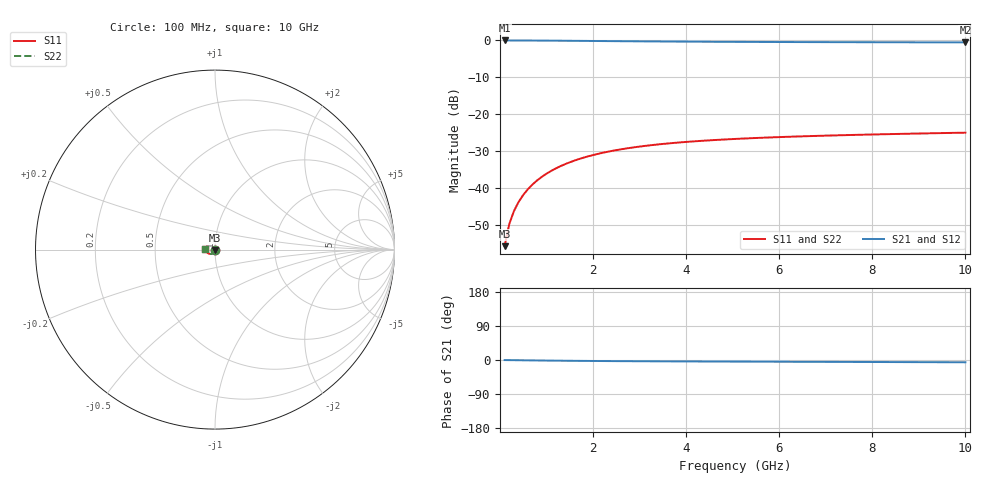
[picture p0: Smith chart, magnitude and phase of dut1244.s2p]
! Touchstone file exported from HFSS 2024.1.0
!  File:  C:/UserFiles/LocalFiles/RDL_TSV_Batchsim/temp_TSV1_1244_1780251668.aedt
!  Generated:  02:27:36 AM Jun  1, 2026
!  Design:  TSV1
!  Project:  temp_TSV1_1244_1780251668
!  Setup:  Setup1
!  Solution:  Sweep
! Variables:
!  dtsv = 11.62um
!  hbump = 3um
!  htsv = 94.57um
!  lrdl = 252.1521522um
!  p = 40
!  p1 = 57.63um
!  t = 500um
!  trdl = 3um
!  wrdl = 24.89489489um
# GHz S MA R 50.000000
! Terminal data exported
! Port[1] = TSV22_T1
! Port[2] = TSV22_T2
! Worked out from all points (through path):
!   100 points, 100 MHz to 10 GHz, reference 50 ohm
!   highest |S21| = 0.00 dB at 100 MHz (marker M1); lowest = -0.5 dB at 10 GHz (marker M2)
!   lowest |S11| = -55.8 dB at 100 MHz (marker M3), VSWR 1.00, Z = 50 - j0.162 ohm
!   |S11| at or under -10 dB: start of sweep to end of sweep
!   |S22| runs from -55.8 to -25.0 dB; largest |S21 - S12| = 9.3e-15
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0.1  0.001617 -87.8  0.9998 -0.2  0.9998 -0.2  0.001617 -87.8
! Gamma 0 0 0 0
! Port Impedance 50 0 50 0
0.2  0.003227 -91.7  0.9996 -0.3  0.9996 -0.3  0.003227 -91.7
0.3  0.004834 -94.3  0.9993 -0.5  0.9993 -0.5  0.004834 -94.3
0.4  0.006432 -96.6  0.9989 -0.6  0.9989 -0.6  0.006432 -96.6
0.5  0.008017 -98.7  0.9984 -0.8  0.9984 -0.8  0.008017 -98.7
0.6  0.009581 -100.8  0.9978 -0.9  0.9978 -0.9  0.009581 -100.8
0.7  0.01112 -102.9  0.9972 -1.1  0.9972 -1.1  0.01112 -102.9
0.8  0.01263 -104.8  0.9964 -1.2  0.9964 -1.2  0.01263 -104.8
0.9  0.01412 -106.8  0.9956 -1.3  0.9956 -1.3  0.01412 -106.8
1.1  0.01697 -110.6  0.9937 -1.6  0.9937 -1.6  0.01697 -110.6
1.4  0.02097 -116.0  0.9906 -2.0  0.9906 -2.0  0.02097 -116.0
1.6  0.02343 -119.4  0.9883 -2.2  0.9883 -2.2  0.02343 -119.4
1.8  0.02573 -122.6  0.986 -2.4  0.986 -2.4  0.02573 -122.6
2.1  0.02886 -127.2  0.9825 -2.7  0.9825 -2.7  0.02887 -127.2
2.5  0.03251 -132.8  0.9779 -3.0  0.9779 -3.0  0.03251 -132.8
2.9  0.03561 -137.9  0.9736 -3.2  0.9736 -3.2  0.03561 -137.9
3.4  0.03884 -143.6  0.9688 -3.5  0.9688 -3.5  0.03885 -143.6
4.2  0.04288 -151.4  0.9623 -3.9  0.9623 -3.9  0.04288 -151.4
5.1  0.04625 -158.8  0.9567 -4.2  0.9567 -4.2  0.04625 -158.7
6.7  0.05047 -169.3  0.9497 -4.8  0.9497 -4.8  0.05047 -169.3
8.4  0.05365 -178.2  0.9449 -5.4  0.9449 -5.4  0.05366 -178.2
10  0.05609 174.8  0.9419 -6.0  0.9419 -6.0  0.05609 174.8
